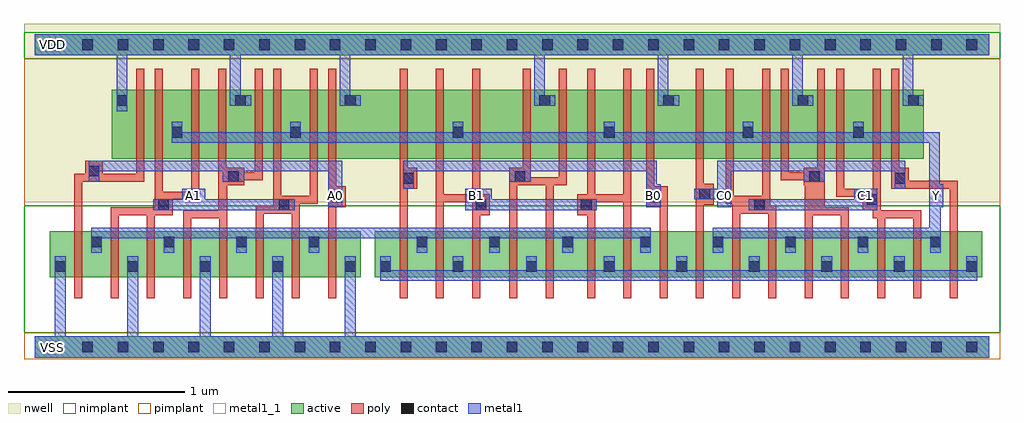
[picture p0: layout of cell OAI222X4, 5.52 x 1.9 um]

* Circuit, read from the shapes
.subckt OAI222X4 A0 A1 B0 B1 C0 C1 VDD VSS Y
M1 n1 A0 VSS VSS nfet w=0.26u l=0.045u m=4
M2 VSS A1 n1 VSS nfet w=0.26u l=0.045u m=4
M3 n1 B0 n2 VSS nfet w=0.26u l=0.045u m=4
M4 n2 B1 n1 VSS nfet w=0.26u l=0.045u m=4
M5 Y C0 n2 VSS nfet w=0.26u l=0.045u m=4
M6 n2 C1 Y VSS nfet w=0.26u l=0.045u m=4
M7 n3 A0 VDD VDD pfet w=0.39u l=0.045u
M8 Y A1 n3 VDD pfet w=0.39u l=0.045u
M9 n4 A1 Y VDD pfet w=0.39u l=0.045u
M10 VDD A0 n4 VDD pfet w=0.39u l=0.045u
M11 n5 A0 VDD VDD pfet w=0.39u l=0.045u
M12 Y A1 n5 VDD pfet w=0.39u l=0.045u
M13 n6 A1 Y VDD pfet w=0.39u l=0.045u
M14 VDD A0 n6 VDD pfet w=0.39u l=0.045u
M15 n7 B0 VDD VDD pfet w=0.39u l=0.045u
M16 Y B1 n7 VDD pfet w=0.39u l=0.045u
M17 n8 B1 Y VDD pfet w=0.39u l=0.045u
M18 VDD B0 n8 VDD pfet w=0.39u l=0.045u
M19 n9 B0 VDD VDD pfet w=0.39u l=0.045u
M20 Y B1 n9 VDD pfet w=0.39u l=0.045u
M21 n10 B1 Y VDD pfet w=0.39u l=0.045u
M22 VDD B0 n10 VDD pfet w=0.39u l=0.045u
M23 n11 C0 VDD VDD pfet w=0.39u l=0.045u
M24 Y C1 n11 VDD pfet w=0.39u l=0.045u
M25 n12 C1 Y VDD pfet w=0.39u l=0.045u
M26 VDD C0 n12 VDD pfet w=0.39u l=0.045u
M27 n13 C0 VDD VDD pfet w=0.39u l=0.045u
M28 Y C1 n13 VDD pfet w=0.39u l=0.045u
M29 n14 C1 Y VDD pfet w=0.39u l=0.045u
M30 VDD C0 n14 VDD pfet w=0.39u l=0.045u
.ends

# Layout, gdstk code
import gdstk
lib = gdstk.Library(unit=1e-6, precision=5e-10)
def R(c, l, rs):  # rectangles x0, y0, x1, y1
    for r in rs: c.add(gdstk.rectangle(r[:2], r[2:], *l))
def A(c, l, x, y, w, h, nx, ny, dx, dy):  # array of equal rectangles
    R(c, l, [(x+i*dx, y+j*dy, x+i*dx+w, y+j*dy+h) for i in range(nx) for j in range(ny)])
def P(c, l, *ps):  # polygons
    for p in ps: c.add(gdstk.Polygon(p, *l))
active = (1, 0)
nwell = (2, 0)
poly = (3, 0)
nimplant = (4, 0)
pimplant = (5, 0)
contact = (6, 0)
metal1 = (7, 0)
metal1_1 = (7, 1)

oai222x4 = lib.new_cell('OAI222X4')
R(oai222x4, active, [(0,-0.06,5.4,0.06), (0.085,0.395,1.845,0.655), (1.925,0.395,5.36,0.655), (0.435,1.065,5.03,1.455), (0,1.65,5.4,1.77)])
R(oai222x4, nwell, [(-0.06,0.82,5.46,1.83)])
P(oai222x4, poly, [(0.285,1.055),(0.385,1.055),(0.385,0.98),(0.575,0.98),(0.575,1.575),(0.62,1.575),(0.62,0.935),(0.27,0.935),(0.27,0.275),(0.225,0.275),(0.225,0.98),(0.285,0.98)],
  [(0.68,1.575),(0.725,1.575),(0.725,0.88),(0.885,0.88),(0.885,1.575),(0.93,1.575),(0.93,0.835),(0.78,0.835),(0.78,0.745),(0.68,0.745),(0.68,0.275),(0.635,0.275),(0.635,0.745),(0.475,0.745),(0.475,0.275),(0.43,0.275),(0.43,0.79),(0.68,0.79)],
  [(1.04,1.575),(1.085,1.575),(1.085,1.015),(1.185,1.015),(1.185,0.99),(1.245,0.99),(1.245,1.575),(1.29,1.575),(1.29,0.945),(1.185,0.945),(1.185,0.915),(1.09,0.915),(1.09,0.275),(1.045,0.275),(1.045,0.73),(0.885,0.73),(0.885,0.275),(0.84,0.275),(0.84,0.775),(1.04,0.775)],
  [(1.35,1.575),(1.395,1.575),(1.395,0.855),(1.555,0.855),(1.555,1.575),(1.6,1.575),(1.6,0.81),(1.5,0.81),(1.5,0.275),(1.455,0.275),(1.455,0.755),(1.295,0.755),(1.295,0.275),(1.25,0.275),(1.25,0.8),(1.35,0.8)],
  [(1.66,1.575),(1.705,1.575),(1.705,0.91),(1.76,0.91),(1.76,0.79),(1.705,0.79),(1.705,0.275),(1.66,0.275)],
  [(2.065,1.575),(2.11,1.575),(2.11,1.015),(2.165,1.015),(2.165,0.895),(2.11,0.895),(2.11,0.275),(2.065,0.275)],
  [(2.27,1.575),(2.315,1.575),(2.315,0.865),(2.475,0.865),(2.475,1.575),(2.52,1.575),(2.52,0.865),(2.575,0.865),(2.575,0.745),(2.52,0.745),(2.52,0.275),(2.475,0.275),(2.475,0.82),(2.315,0.82),(2.315,0.275),(2.27,0.275)],
  [(2.76,1.575),(2.805,1.575),(2.805,0.96),(2.965,0.96),(2.965,1.575),(3.01,1.575),(3.01,0.915),(2.935,0.915),(2.935,0.275),(2.89,0.275),(2.89,0.915),(2.73,0.915),(2.73,0.275),(2.685,0.275),(2.685,1.015),(2.76,1.015)],
  [(3.125,1.575),(3.17,1.575),(3.17,0.865),(3.33,0.865),(3.33,1.575),(3.375,1.575),(3.375,0.275),(3.33,0.275),(3.33,0.82),(3.17,0.82),(3.17,0.275),(3.125,0.275),(3.125,0.745),(3.07,0.745),(3.07,0.865),(3.125,0.865)],
  [(3.46,1.575),(3.505,1.575),(3.505,0.91),(3.58,0.91),(3.58,0.275),(3.535,0.275),(3.535,0.79),(3.46,0.79)],
  [(3.74,1.575),(3.785,1.575),(3.785,0.925),(3.84,0.925),(3.84,0.805),(3.785,0.805),(3.785,0.275),(3.74,0.275)],
  [(3.91,1.575),(3.955,1.575),(3.955,0.855),(4.115,0.855),(4.115,1.575),(4.16,1.575),(4.16,0.8),(4.195,0.8),(4.195,0.275),(4.15,0.275),(4.15,0.755),(3.99,0.755),(3.99,0.275),(3.945,0.275),(3.945,0.81),(3.91,0.81)],
  [(4.22,1.575),(4.265,1.575),(4.265,0.99),(4.35,0.99),(4.35,1.015),(4.425,1.015),(4.425,1.575),(4.47,1.575),(4.47,0.79),(4.605,0.79),(4.605,0.275),(4.56,0.275),(4.56,0.745),(4.4,0.745),(4.4,0.275),(4.355,0.275),(4.355,0.915),(4.35,0.915),(4.35,0.945),(4.22,0.945)],
  [(4.535,1.575),(4.58,1.575),(4.58,0.895),(4.74,0.895),(4.74,1.575),(4.785,1.575),(4.785,0.775),(5.015,0.775),(5.015,0.275),(4.97,0.275),(4.97,0.73),(4.81,0.73),(4.81,0.275),(4.765,0.275),(4.765,0.73),(4.74,0.73),(4.74,0.775),(4.685,0.775),(4.685,0.85),(4.535,0.85)],
  [(4.845,1.575),(4.89,1.575),(4.89,1.015),(4.945,1.015),(4.945,0.94),(5.22,0.94),(5.22,0.275),(5.175,0.275),(5.175,0.895),(4.845,0.895)])
R(oai222x4, nimplant, [(-0.06,0.08,5.46,0.8), (-0.06,1.63,5.46,1.78)])
R(oai222x4, pimplant, [(-0.06,-0.07,5.46,0.08), (-0.06,0.8,5.46,1.63)])
A(oai222x4, contact, 0.07, -0.03, 0.06, 0.06, 27, 2, 0.2, 1.71)
A(oai222x4, contact, 0.115, 0.425, 0.06, 0.06, 5, 1, 0.41, 0)
A(oai222x4, contact, 3.22, 0.425, 0.06, 0.06, 6, 1, 0.41, 0)
A(oai222x4, contact, 0.32, 0.565, 0.06, 0.06, 4, 1, 0.41, 0)
A(oai222x4, contact, 3.425, 0.565, 0.06, 0.06, 5, 1, 0.41, 0)
R(oai222x4, contact, [(1.955,0.425,2.015,0.485), (2.365,0.425,2.425,0.485), (2.78,0.425,2.84,0.485), (2.16,0.565,2.22,0.625), (2.57,0.565,2.63,0.625), (2.985,0.565,3.045,0.625), (0.7,0.775,0.76,0.835), (1.38,0.775,1.44,0.835), (2.495,0.775,2.555,0.835), (3.09,0.775,3.15,0.835), (4.07,0.775,4.13,0.835), (4.705,0.805,4.765,0.865), (1.68,0.82,1.74,0.88), (3.48,0.82,3.54,0.88), (3.76,0.835,3.82,0.895), (2.085,0.925,2.145,0.985), (4.865,0.925,4.925,0.985), (1.095,0.935,1.155,0.995), (2.715,0.935,2.775,0.995), (4.38,0.935,4.44,0.995), (0.305,0.965,0.365,1.025), (0.775,1.185,0.835,1.245), (1.445,1.185,1.505,1.245), (2.365,1.185,2.425,1.245), (3.22,1.185,3.28,1.245), (4.005,1.185,4.065,1.245), (4.63,1.185,4.69,1.245), (0.465,1.365,0.525,1.425), (1.135,1.365,1.195,1.425), (1.755,1.365,1.815,1.425), (2.855,1.365,2.915,1.425), (3.555,1.365,3.615,1.425), (4.315,1.365,4.375,1.425), (4.94,1.365,5,1.425)])
P(oai222x4, metal1, [(0,1.77),(5.4,1.77),(5.4,1.65),(4.97,1.65),(4.97,1.425),(5.03,1.425),(5.03,1.365),(4.91,1.365),(4.91,1.65),(4.345,1.65),(4.345,1.425),(4.405,1.425),(4.405,1.365),(4.285,1.365),(4.285,1.65),(3.585,1.65),(3.585,1.425),(3.645,1.425),(3.645,1.365),(3.525,1.365),(3.525,1.65),(2.885,1.65),(2.885,1.425),(2.945,1.425),(2.945,1.365),(2.825,1.365),(2.825,1.65),(1.785,1.65),(1.785,1.425),(1.845,1.425),(1.845,1.365),(1.725,1.365),(1.725,1.65),(1.165,1.65),(1.165,1.425),(1.225,1.425),(1.225,1.365),(1.105,1.365),(1.105,1.65),(0.525,1.65),(0.525,1.335),(0.465,1.335),(0.465,1.65),(0,1.65)],
  [(0.775,1.275),(0.835,1.275),(0.835,1.215),(1.445,1.215),(1.445,1.275),(1.505,1.275),(1.505,1.215),(2.365,1.215),(2.365,1.275),(2.425,1.275),(2.425,1.215),(3.22,1.215),(3.22,1.275),(3.28,1.275),(3.28,1.215),(4.005,1.215),(4.005,1.275),(4.065,1.275),(4.065,1.215),(4.63,1.215),(4.63,1.275),(4.69,1.275),(4.69,1.215),(5.12,1.215),(5.12,0.92),(5.14,0.92),(5.14,0.79),(5.125,0.79),(5.125,0.535),(5.065,0.535),(5.065,0.615),(4.715,0.615),(4.715,0.535),(4.655,0.535),(4.655,0.615),(4.305,0.615),(4.305,0.535),(4.245,0.535),(4.245,0.615),(3.895,0.615),(3.895,0.535),(3.835,0.535),(3.835,0.675),(5.06,0.675),(5.06,1.155),(0.775,1.155)],
  [(0.305,1.055),(1.74,1.055),(1.74,0.79),(1.66,0.79),(1.66,0.995),(1.185,0.995),(1.185,0.935),(1.065,0.935),(1.065,0.995),(0.365,0.995),(0.365,0.935),(0.305,0.935)],
  [(0.835,0.895),(0.965,0.895),(0.965,0.835),(1.47,0.835),(1.47,0.775),(0.67,0.775),(0.67,0.835),(0.835,0.835)],
  [(2.085,1.055),(3.52,1.055),(3.52,0.92),(3.54,0.92),(3.54,0.79),(3.46,0.79),(3.46,0.995),(2.805,0.995),(2.805,0.935),(2.685,0.935),(2.685,0.995),(2.145,0.995),(2.145,0.895),(2.085,0.895)],
  [(2.435,0.895),(2.585,0.895),(2.585,0.835),(3.18,0.835),(3.18,0.775),(2.435,0.775)],
  [(3.86,1.055),(4.925,1.055),(4.925,0.895),(4.865,0.895),(4.865,0.995),(4.47,0.995),(4.47,0.935),(4.35,0.935),(4.35,0.995),(3.94,0.995),(3.94,0.79),(3.86,0.79),(3.86,0.835),(3.73,0.835),(3.73,0.895),(3.86,0.895)],
  [(4.635,0.895),(4.765,0.895),(4.765,0.775),(4.04,0.775),(4.04,0.835),(4.635,0.835)],
  [(0.32,0.675),(3.485,0.675),(3.485,0.535),(3.425,0.535),(3.425,0.615),(3.045,0.615),(3.045,0.535),(2.985,0.535),(2.985,0.615),(2.63,0.615),(2.63,0.535),(2.57,0.535),(2.57,0.615),(2.22,0.615),(2.22,0.535),(2.16,0.535),(2.16,0.615),(1.61,0.615),(1.61,0.535),(1.55,0.535),(1.55,0.615),(1.2,0.615),(1.2,0.535),(1.14,0.535),(1.14,0.615),(0.79,0.615),(0.79,0.535),(0.73,0.535),(0.73,0.615),(0.38,0.615),(0.38,0.535),(0.32,0.535)],
  [(0.115,0.515),(0.175,0.515),(0.175,0.06),(0.525,0.06),(0.525,0.515),(0.585,0.515),(0.585,0.06),(0.935,0.06),(0.935,0.515),(0.995,0.515),(0.995,0.06),(1.345,0.06),(1.345,0.515),(1.405,0.515),(1.405,0.06),(1.755,0.06),(1.755,0.515),(1.815,0.515),(1.815,0.06),(5.4,0.06),(5.4,-0.06),(0,-0.06),(0,0.06),(0.115,0.06)],
  [(1.955,0.515),(2.015,0.515),(2.015,0.435),(2.365,0.435),(2.365,0.515),(2.425,0.515),(2.425,0.435),(2.78,0.435),(2.78,0.515),(2.84,0.515),(2.84,0.435),(3.22,0.435),(3.22,0.515),(3.28,0.515),(3.28,0.435),(3.63,0.435),(3.63,0.515),(3.69,0.515),(3.69,0.435),(4.04,0.435),(4.04,0.515),(4.1,0.515),(4.1,0.435),(4.45,0.435),(4.45,0.515),(4.51,0.515),(4.51,0.435),(4.86,0.435),(4.86,0.515),(4.92,0.515),(4.92,0.435),(5.27,0.435),(5.27,0.515),(5.33,0.515),(5.33,0.375),(1.955,0.375)])
A(oai222x4, metal1_1, 0.86, 0.815, 0.08, 0.08, 3, 1, 0.8, 0)
R(oai222x4, metal1_1, [(0.06,-0.04,0.14,0.04), (3.46,0.815,3.54,0.895), (3.86,0.815,3.94,0.895), (4.66,0.815,4.74,0.895), (5.06,0.815,5.14,0.895), (0.06,1.67,0.14,1.75)])
oai222x4.add(gdstk.Label('Y', (5.1,0.855), layer=7, texttype=1))
oai222x4.add(gdstk.Label('A0', (1.7,0.855), layer=7, texttype=1))
oai222x4.add(gdstk.Label('C0', (3.9,0.855), layer=7, texttype=1))
oai222x4.add(gdstk.Label('B0', (3.5,0.855), layer=7, texttype=1))
oai222x4.add(gdstk.Label('A1', (0.9,0.855), layer=7, texttype=1))
oai222x4.add(gdstk.Label('C1', (4.7,0.855), layer=7, texttype=1))
oai222x4.add(gdstk.Label('B1', (2.5,0.855), layer=7, texttype=1))
oai222x4.add(gdstk.Label('VDD', (0.1,1.71), layer=7, texttype=1))
oai222x4.add(gdstk.Label('VSS', (0.1,0), layer=7, texttype=1))
oai222x4.add(gdstk.Label('OAI222X4', (0,0), layer=63, texttype=0))

lib.write_gds('OAI222X4.gds')
